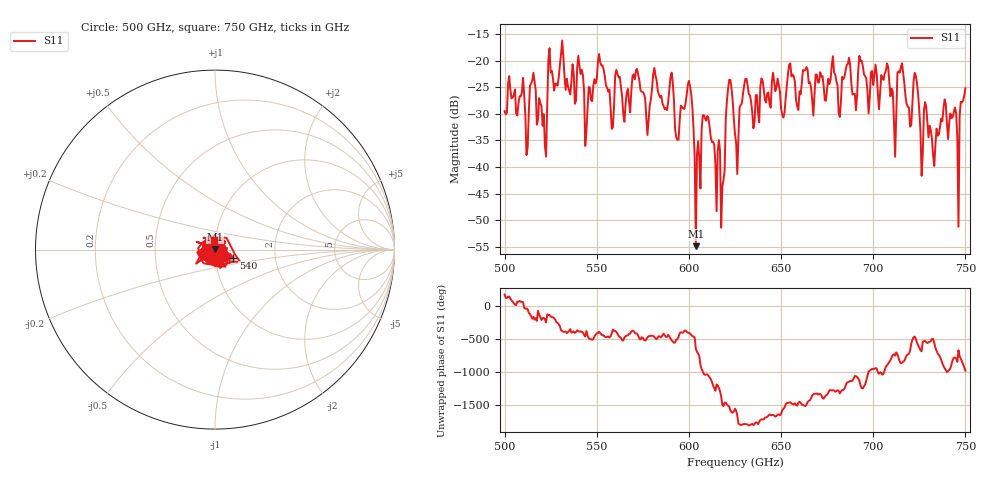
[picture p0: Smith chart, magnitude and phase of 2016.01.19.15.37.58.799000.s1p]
!Created with skrf (http://scikit-rf.org).
# GHz S RI R 50.0
!freq ReS11 ImS11
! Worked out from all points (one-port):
!   401 points, 500 GHz to 750 GHz, reference 50 ohm
!   lowest |S11| = -54.9 dB at 603.8 GHz (marker M1), VSWR 1.00, Z = 50.1 + j0.164 ohm
!   |S11| at or under -10 dB: start of sweep to end of sweep
!   S11 on the Smith chart (normalised r, x): 500 GHz: 0.94, +0.02; 540 GHz: 1.22, -0.11; 750 GHz: 0.99, +0.11
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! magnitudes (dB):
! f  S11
! 500 GHz  -29.5
! 511.9 GHz  -37.7
! 515 GHz  -23.7
! 521.9 GHz  -36.1
! 525 GHz  -22.2
! 531.2 GHz  -16.2
! 540 GHz  -19.1
! 544.4 GHz  -33.3
! 551.9 GHz  -20.3
! 558.1 GHz  -32.8
! 562.5 GHz  -23.0
! 590.6 GHz  -22.2
! 593.8 GHz  -34.9
! 600 GHz  -23.8
! 603.8 GHz  -54.9
! 609.4 GHz  -31.3
! 618.1 GHz  -43.6
! 621.9 GHz  -23.6
! 625 GHz  -33.8
! 630.6 GHz  -23.4
! 656.2 GHz  -22.6
! 687.5 GHz  -20.8
! 707.5 GHz  -20.5
! 711.2 GHz  -31.4
! 715 GHz  -21.2
! 718.8 GHz  -28.6
! 745.6 GHz  -34.5
! 750 GHz  -25.2
